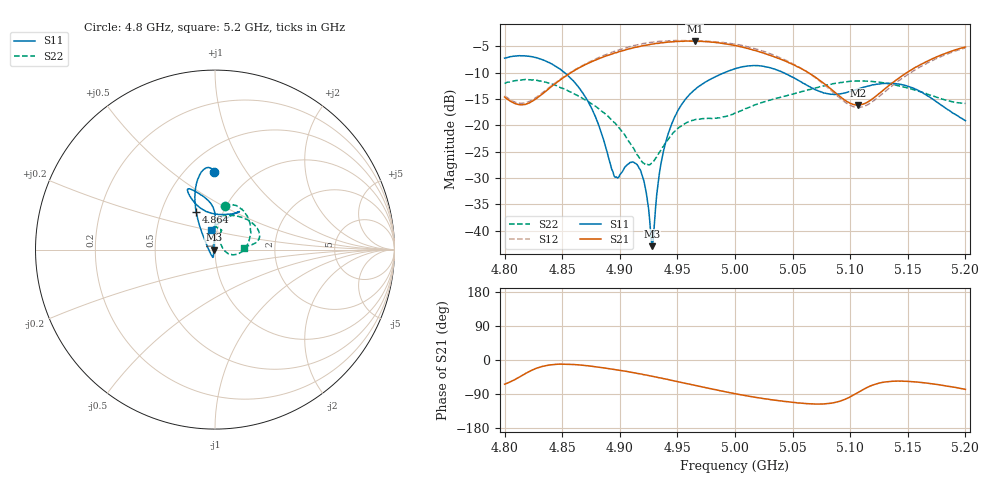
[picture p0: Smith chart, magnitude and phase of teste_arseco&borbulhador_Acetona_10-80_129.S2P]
! Network Analyzer HP8722D
! Hewlett-Packard
! Data name: Linha & Wilkinson
! Saver's name: Rodrigo Anjos
! Comments: Teste da utilização de aquisição
! continua pelo VNA HP8722D
! Time and date: 25/4/2025 16:20
!  Frequency  S11  S21  S12  S22
# HZ  S  MA R 50
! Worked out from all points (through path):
!   401 points, 4.8 GHz to 5.2 GHz, reference 50 ohm
!   highest |S21| = -3.97 dB at 4.965 GHz (marker M1); lowest = -16.1 dB at 5.107 GHz (marker M2)
!   lowest |S11| = -42.9 dB at 4.928 GHz (marker M3), VSWR 1.01, Z = 49.3 - j0.113 ohm
!   |S11| at or under -10 dB: 4.852 GHz to 4.991 GHz (138.4 MHz wide, 2.81 % of centre); 5.042 GHz to end of sweep
!   |S22| runs from -27.6 to -11.3 dB; largest |S21 - S12| = 1.2
!   S11 on the Smith chart (normalised r, x): 4.8 GHz: 0.68, +0.72; 4.864 GHz: 0.75, +0.33; 5.2 GHz: 0.94, +0.21
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4.8e9  0.4349 90.7  0.1861 -63.8  0.1909 69.5  0.2503 77.1
4.82e9  0.4541 97.0  0.1613 -32.6  0.1667 98.3  0.2719 61.8
4.864e9  0.2325 116.6  0.3492 -12.9  0.3521 121.0  0.1903 12.3
4.867e9  0.2094 118.5  0.3628 -13.7  0.3672 120.8  0.1828 8.8
4.88e9  0.1119 128.5  0.4219 -18.2  0.4322 118.4  0.1487 -5.1
4.896e9  0.03211 -166.1  0.4896 -25.2  0.5069 113.2  0.1051 -15.9
4.91e9  0.04457 -106.7  0.5395 -32.5  0.5638 107.3  0.06503 -13.8
4.917e9  0.03889 -103.3  0.5616 -36.3  0.588 103.6  0.04923 -1.8
4.922e9  0.02605 -107.1  0.5744 -39.2  0.6024 100.8  0.0427 16.3
4.928e9  0.00713 -170.7  0.5908 -43.0  0.6175 97.2  0.0436 40.4
4.93e9  0.01154 124.5  0.596 -44.1  0.6199 95.9  0.04664 47.3
4.934e9  0.0328 99.8  0.6029 -46.8  0.6292 93.3  0.05477 58.3
4.939e9  0.06367 93.0  0.6137 -49.7  0.6353 90.1  0.06673 65.3
4.946e9  0.1096 90.0  0.6229 -54.4  0.6392 85.7  0.08415 70.1
4.965e9  0.2175 91.1  0.6334 -66.8  0.6379 73.5  0.1132 71.6
5e9  0.3452 109.2  0.5727 -88.9  0.5921 50.9  0.1311 88.3
5.03e9  0.3536 115.2  0.465 -104.2  0.481 34.0  0.1734 85.4
5.067e9  0.2266 105.3  0.301 -115.9  0.2987 23.6  0.2218 57.3
5.107e9  0.222 64.1  0.156 -85.3  0.1481 57.7  0.2636 24.3
5.134e9  0.2511 57.4  0.2409 -56.6  0.2263 88.7  0.2479 12.5
5.168e9  0.1887 69.3  0.4129 -61.7  0.3968 85.4  0.1962 7.1
5.2e9  0.1111 100.6  0.555 -77.5  0.545 70.2  0.1617 3.8
